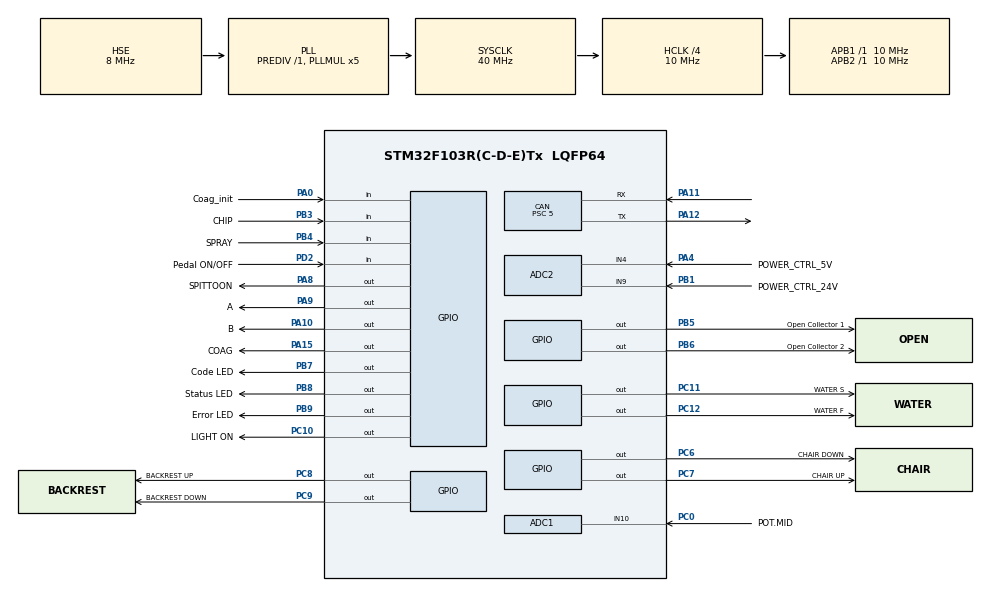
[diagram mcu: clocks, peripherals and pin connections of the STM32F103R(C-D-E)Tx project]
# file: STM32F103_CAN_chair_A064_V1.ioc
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ADC1.Channel-1\#ChannelRegularConversion=ADC_CHANNEL_10
ADC1.ContinuousConvMode=ENABLE
ADC1.NbrOfConversionFlag=1
ADC1.Rank-1\#ChannelRegularConversion=1
ADC1.SamplingTime-1\#ChannelRegularConversion=ADC_SAMPLETIME_1CYCLE_5
ADC1.master=1
ADC2.Channel-1\#ChannelRegularConversion=ADC_CHANNEL_4
ADC2.ContinuousConvMode=ENABLE
ADC2.NbrOfConversionFlag=1
ADC2.Rank-1\#ChannelRegularConversion=1
ADC2.SamplingTime-1\#ChannelRegularConversion=ADC_SAMPLETIME_1CYCLE_5
CAN.BS1=CAN_BS1_13TQ
CAN.BS2=CAN_BS2_2TQ
CAN.CalculateBaudRate=125000
CAN.CalculateTimeBit=8000
CAN.CalculateTimeQuantum=500.0
CAN.NART=ENABLE
CAN.Prescaler=5
Mcu.Family=STM32F1
Mcu.Name=STM32F103R(C-D-E)Tx
Mcu.Package=LQFP64
NVIC.PriorityGroup=NVIC_PRIORITYGROUP_4
NVIC.USB_HP_CAN1_TX_IRQn=true\:0\:0\:false\:false\:true\:true\:true\:true
NVIC.USB_LP_CAN1_RX0_IRQn=true\:0\:0\:false\:false\:true\:true\:true\:true
PA0-WKUP.GPIO_Label=Coag_init
PA0-WKUP.GPIO_PuPd=GPIO_PULLUP
PA0-WKUP.Signal=GPIO_Input
PA10.GPIO_Label=B
PA10.Signal=GPIO_Output
PA11.Mode=CAN_Activate
PA11.Signal=CAN_RX
PA12.Mode=CAN_Activate
PA12.Signal=CAN_TX
PA13.Mode=Serial_Wire
PA13.Signal=SYS_JTMS-SWDIO
PA14.Mode=Serial_Wire
PA14.Signal=SYS_JTCK-SWCLK
PA15.GPIO_Label=COAG
PA15.Signal=GPIO_Output
PA4.GPIO_Label=POWER_CTRL_5V
PA4.Signal=ADCx_IN4
PA8.GPIO_Label=SPITTOON
PA8.Signal=GPIO_Output
PA9.GPIO_Label=A
PA9.Signal=GPIO_Output
PB1.GPIO_Label=POWER_CTRL_24V
PB1.Signal=ADCx_IN9
PB3.GPIO_Label=CHIP
PB3.GPIO_PuPd=GPIO_PULLUP
PB3.Signal=GPIO_Input
PB4.GPIO_Label=SPRAY
PB4.GPIO_PuPd=GPIO_PULLUP
PB4.Signal=GPIO_Input
PB5.GPIO_Label=Open Collector 1
PB5.Signal=GPIO_Output
PB6.GPIO_Label=Open Collector 2
PB6.Signal=GPIO_Output
PB7.GPIO_Label=Code LED
PB7.Signal=GPIO_Output
PB8.GPIO_Label=Status LED
PB8.Signal=GPIO_Output
PB9.GPIO_Label=Error LED
PB9.Signal=GPIO_Output
PC0.GPIO_Label=POT.MID
PC0.Signal=ADCx_IN10
PC10.GPIO_Label=LIGHT ON
PC10.Signal=GPIO_Output
PC11.GPIO_Label=WATER S
PC11.Signal=GPIO_Output
PC12.GPIO_Label=WATER F
PC12.Signal=GPIO_Output
PC6.GPIO_Label=CHAIR DOWN
PC6.Signal=GPIO_Output
PC7.GPIO_Label=CHAIR UP
PC7.Signal=GPIO_Output
PC8.GPIO_Label=BACKREST UP
PC8.Signal=GPIO_Output
PC9.GPIO_Label=BACKREST DOWN
PC9.Signal=GPIO_Output
PD0-OSC_IN.Mode=HSE-External-Oscillator
PD0-OSC_IN.Signal=RCC_OSC_IN
PD1-OSC_OUT.Mode=HSE-External-Oscillator
PD1-OSC_OUT.Signal=RCC_OSC_OUT
PD2.GPIO_Label=Pedal ON/OFF
PD2.GPIO_PuPd=GPIO_PULLUP
PD2.Signal=GPIO_Input
ProjectManager.HeapSize=0x200
ProjectManager.StackSize=0x400
ProjectManager.TargetToolchain=MDK-ARM V5.27
RCC.AHBCLKDivider=RCC_SYSCLK_DIV4
RCC.AHBFreq_Value=10000000
RCC.APB1Freq_Value=10000000
RCC.APB1TimFreq_Value=10000000
RCC.APB2Freq_Value=10000000
RCC.APB2TimFreq_Value=10000000
RCC.HCLKFreq_Value=10000000
RCC.PLLMUL=RCC_PLL_MUL5
RCC.PLLSourceVirtual=RCC_PLLSOURCE_HSE
RCC.SYSCLKFreq_VALUE=40000000
RCC.SYSCLKSource=RCC_SYSCLKSOURCE_PLLCLK
RCC.USBFreq_Value=40000000
SH.ADCx_IN10.0=ADC1_IN10,IN10
SH.ADCx_IN4.0=ADC2_IN4,IN4
SH.ADCx_IN9.0=ADC2_IN9,IN9
board=custom

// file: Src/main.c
/* USER CODE BEGIN Header */
/**
  ******************************************************************************
  * @file           : STM32F103_CAN_chair_A027_V3_COAG.c
  * @brief          : Program for chair board and pedal Board AEGA 5.139.027/3
											with coagulator
  ******************************************************************************
 */
/* USER CODE END Header */
#include "main.h"

/* USER CODE BEGIN Includes */
#include "crc.h" // розрахунок контрольної суми
#include "io.h" // порти вводу / виводу
/* USER CODE END Includes */

ADC_HandleTypeDef hadc1;
ADC_HandleTypeDef hadc2;

CAN_HandleTypeDef hcan;

/* USER CODE BEGIN PV */
void decodeDataChairBuffRx (uint8_t *dataChairBuffRx);	// функція для обробки змінної data_chair - формування відповіді data_chair_answer
void SLIP_AddCrcToFrame( uint8_t *frame, uint16_t *size); // функція для розрахунку контрольної суми
void decodeDataPedalONOFF (uint8_t *dataPedalONOFF); // фунуція для обробки стану педалі з А025

CAN_TxHeaderTypeDef TxHeader; // вихідний буфер CAN_Tx
CAN_RxHeaderTypeDef RxHeader; // вхідний буфер CAN_Rx

uint8_t len = 0; // лічильний для прийнятих байтів
uint8_t CAN_status_OK = 0; // прапорець, який сигналізує про наявність даних по CAN
uint8_t CANRxDataChairNOT_OK = 0; // прапорець, який сигналізує про наявність даних по CAN

uint8_t dataChairBuffRx [255] = {0}; // буфер data_chair - буфер, який містить інформацію про поточний стан кнопок, які керують кріслом, LIGHT ON, WATER F та WATER S
uint8_t dataChairAnswerBuffTx [255] = {0}; // буфер data_chair_answer - підтвердження отримання буфера data_chair
uint8_t dataPedalBuffTx [255] = {0}; // буфер data_pedal - буфер, який містить інформацію про стан функцій педалі ADC, Pedal ON/OFF, CHIP, SPRAY
uint8_t dataResetBuffRx [255] = {0};
uint8_t dataBuffRx [255] = {0};
uint8_t dataSPRAYBuffTx [255] = {0};
uint8_t dataPedalONOFF [255] = {0}; // буфер для прийому даних по стану педалі з А025

uint32_t TxMailBox = 0; // Mailbox для відправки даних по CAN
uint8_t canRxBuffer [255] = {0}; // буфер для прийому даних по CAN
uint8_t canTxBuffer [255] = {0}; // буфер для передачі даних по CAN

uint16_t adcResult = 0; // дані, які отримано з АЦП 12-бітного
uint8_t dataResult = 0; // дані, які приведено до АЦП 8-бітного

uint8_t button_push_pedal = 0; // стан кнопки Pedal_ON/OFF / Педаль ВКЛ./ВиКЛ.
uint8_t button_push_CHIP = 0; // стан кнопки CHIP / ПРОДУВКА
uint8_t butto_push_SPRAY = 0; // стан кнопки SPRAY / СПРЕЙ

uint8_t button_push_pedal_sent = 0; // змінна, що відповідає за стан кнопки Pedal_ON/OFF / Педаль ВКЛ./ВиКЛ.
uint8_t button_push_CHIP_sent = 0; //змінна, що відповідає за стан кнопки CHIP / ПРОДУВКА
uint8_t button_push_SPRAY_sent = 0; // змінна, що відповідає за стан кнопки SPRAY / СПРЕЙ

uint8_t stateButtSPRAY = 1; // стан кнопки SPRAY / СПРЕЙ

uint8_t sent_data = 0; // стан натискання кнопок педалі

uint8_t len_pedal = 0; // лічильник для надсилання даних про стан всіх кнопок педалі
uint8_t len_chip_spray = 0; // лічильник для надсилання даних тільки про стан кнопок CHIP та SPRAY

uint8_t flag_rx_a025 = 0; // прапорець по педалі - прийом або передача
uint8_t pedal_on_off_a025 = 0; // стан натискання кнопки педалі на А025

uint32_t timeStatus = 0;
uint32_t tim_data_answer = 0;
/* USER CODE END PV */

void SystemClock_Config(void);
static void MX_GPIO_Init(void);
static void MX_ADC1_Init(void);
static void MX_ADC2_Init(void);
static void MX_CAN_Init(void);

/* USER CODE BEGIN 0 */
uint8_t data_chair_OK = 0; // прапорець, що сигналізує про те, що прийом / передача даних по CAN пройшли успішно
uint8_t data_chair_NOT_OK = 0; // прапорець, що сигналізує про перехід до стану, коли світлодіод мигає із фіксованою частотою - помилка по CAN

uint8_t stateChairDown = 0; // стан байта, що відповідає за стан кнопки CHAIR DOWN / КРІСЛО ВНиЗ
uint8_t stateChairUp = 0; // стан байта, що відповідає за стан кнопопки CHAIR UP / КРІСЛО ВВЕРХ
uint8_t stateBackrestUp = 0; // стан байта, що відповідає за стан кнопки BACKREST UP / СПиНКА ВВЕРХ
uint8_t stateBackrestDown = 0; // стан байта, що відповідає за стан кнопки BACKREST DOWN / СПиНКА ВНиЗ
uint8_t stateSpittoon = 0; // стан байта, що відповідає за стан кнопки SPITTOON / СПЛЬОВУВАННЯ
uint8_t stateA = 0; // стан байта, що відповідає за стан кнопки А
uint8_t stateB = 0; // стан байта, що відповідає за стан кнопки В
uint8_t stateLightOn; // стан байта, що відповідає за стан кнопки LIGHT ON / СВІТиЛЬНиК
uint8_t stateWaterF; // стан байта, що відповідає за стан кнопки WATER F / НАПОВНЕННЯ СКЛЯНКи
uint8_t stateWaterS; // стан байта, що відповідає за стан кнопки WATER S / ЗМиВ ПЛЮВАЛЬНи0ЦІ
uint8_t state_data_chair = 0; // прапорець, який використовується для переходу до формування буфера data_chair_answer

uint16_t dataChairRxCRC = 0; // отримана у data_chair контрольна сума CRC
uint16_t dataChairCalcCRC = 0; // розрахована для data_chair контрольна сума CRC

/*Стан натискання педалі отриманий з А025*/
void decodeDataPedalONOFF (uint8_t *dataPedalONOFF)
{
	if (dataPedalONOFF [0] != 0x00 && dataPedalONOFF [1] != 0x00 && dataPedalONOFF [7] != 0x00)
	{
		if (dataPedalONOFF [2] == 0x80)
		{
			pedal_on_off_a025 = 0;
		}
		else if (dataPedalONOFF [2] == 0x81)
		{
			pedal_on_off_a025 = 1;
		}
	}
}

void decodeDataBuffRx (uint8_t *dataBuffRx) // робота з прийнятим повідомленням data_reset
{
if (dataBuffRx [0] != 0x00 && dataBuffRx [1] != 0x00 && dataBuffRx [15] != 0x00)
{
		if (dataBuffRx [4] == 0x22)
		{
			butto_push_SPRAY = 1;
			button_push_SPRAY_sent = 0x2B;
		}
		else if (dataBuffRx [4] == 0x00)
		{
			butto_push_SPRAY = 0;
			button_push_SPRAY_sent = 0x2D;
		}
	}
}

/* Робота з повідомленням про поточний стан кнопок data*/
void decodeDataChairBuffRx (uint8_t *dataChairBuffRx) // робота з прийнятим повідомленням data_chair
{
	/* Контрольна сума отримана у буфері data_chair*/
	dataChairRxCRC = dataChairBuffRx [13];
	dataChairRxCRC = dataChairRxCRC << 8;
	dataChairRxCRC |= dataChairBuffRx [14];

	/*Розрахунок для data_chair контрольної суми - розрахунок проводиться для прийнятого буфера*/
	uint16_t lengDataBuffRx = 13; // довжина буфера корисних даних для розрахунку контрольної суми СRC
	SLIP_AddCrcToFrame (dataChairBuffRx, &lengDataBuffRx); // функція для розрахунку контрольної суми CRC

	dataChairCalcCRC = dataChairBuffRx [13];
	dataChairCalcCRC = dataChairCalcCRC << 8;
	dataChairCalcCRC |= dataChairBuffRx [14];

	if (dataChairCalcCRC == dataChairRxCRC) // умова виконується якщо контрольна сума CRC отримана та розрахована - співпала
	{
		CAN_status_OK = 1; // засвічується світлодіод, який сигналізує, що є передача даних по CAN
		data_chair_OK = 1; // засвічується світлодіод, який сигналізує про відправку буфера data_chair_answer та отримання буфера data_chair
		data_chair_NOT_OK = 0; // скидається прапорець, що сигналізує про помилку прийому / передачі по CAN
		/* Формування буфера data_chair_answer - ввідповідь на прийняте повідомлення data_chair*/
		dataChairAnswerBuffTx [0] = 0x16;
		dataChairAnswerBuffTx [1] = 0x06;
		dataChairAnswerBuffTx [2] = dataChairBuffRx [13]; // в посилці надсилати контрольну суму старший байт
		dataChairAnswerBuffTx [3] = dataChairBuffRx [14]; // в посилці надсилати контрольну суму молодший байт
		dataChairAnswerBuffTx [4] = 0xFF;

		stateChairDown = dataChairBuffRx [2]; // змінна, яка визначає стан кнопки CHAIR DOWN / КРІСЛО ВНиЗ
		stateChairUp = dataChairBuffRx [3]; // змінна, яка визначає стан кнопки CHAIR UP / КРІСЛО ВВЕРХ
		stateBackrestUp = dataChairBuffRx [4]; // змінна, яка визначає стан кнопки BACKREST UP / СПиНКА ВВЕРХ
		stateBackrestDown = dataChairBuffRx [5]; // змінна, яка визначає стан кнопки BACKREST DOWN / СПиНКА ВНиЗ
		stateSpittoon = dataChairBuffRx [6]; // змінна, яка визначає стан кнопки SPITTOON / СПЛЬОВУВАННЯ
		stateA = dataChairBuffRx [7]; // змінна, яка визначає стан кнопки A
		stateB = dataChairBuffRx [8]; // змінна, яка визначає стан кнопки В
		stateLightOn = dataChairBuffRx [9]; // змінна, яка визначає стан кнопки LIGHT ON / СВІТиЛЬНиК
		stateWaterF = dataChairBuffRx [10]; // змінна, яка визначає стан кнопки WATER F / НАПОВНЕННЯ СКЛЯНКи
		stateWaterS = dataChairBuffRx [11]; // змінна, яка визначає стан кнопки WATER S / ЗМиВ ПЛЮВАЛЬНиЦІ

		/*Формування стану виходів мікроконтролера для керування стоматологічним кріслом*/

		/*Стан кнопки CHAIR DOWN / КРІСЛО ВНиЗ*/
		if (stateChairDown == 0x10)
		{
			ChairDownSet (); // вихід мікроконтролера в 1
		}
		else if (stateChairDown == 0x11)
		{
			ChairDownReset (); // вихід мікроконтролера в 0
		}

		/*Стан кнопки CHAIR UP / КРІСЛО ВВЕРХ*/
		if (stateChairUp == 0x20)
		{
			ChairUpSet (); // вихід мікроконтролера в 1
		}
		else if (stateChairUp == 0x21)
		{
			ChairUpReset (); // вихід мікроконтролера в 0
		}

		/*Стан кнопки BACKREST UP / СПиНКА ВВЕРХ*/
		if (stateBackrestUp == 0x30)
		{
			BackrestUpSet (); // вихід мікроконтролера в 1
		}
		else if (stateBackrestUp == 0x31)
		{
			BackrestUpReset (); // вихід мікроконтролера в 0
		}

		/*Стан кнопки BACKREST DOWN / СПиНКА ВНиЗ*/
		if (stateBackrestDown == 0x40)
		{
			BackrestDownSet (); // вихід мікроконтролера в 1
		}
		else if (stateBackrestDown == 0x41)
		{
			BackrestDownReset (); // вихід мікроконтролера в 0
		}

		/*Стан кнопки SPITTOON / СПЛЬОВУВАННЯ*/
		if (stateSpittoon == 0x50)
		{
			SpittoonSet (); // вихід мікроконтролера в 1
		}
		else if (stateSpittoon == 0x51)
		{
			SpittoonReset (); // вихід мікроконтролера в 0
		}

//		/*Стан кнопки A*/
//		if (stateA == 0x60)
//		{
//			ASet (); // вихід мікроконтролера в 1
//		}
//		else if (stateA == 0x61)
//		{
//			AReset (); // вихід мікроконтролера в 0
//		}

//		/*Стан кнопки B*/
//		if (stateB == 0x70)
//		{
//			BSet (); // вихід мікроконтролера в 1
//		}
//		else if (stateB == 0x71)
//		{
//			BReset (); // вихід мікроконтролера в 0
//		}

		/* Формування стану виходів мікроконтролера для керування станом кнопок LIGHT ON, WATER F та WATER S для контролеру гідроблоку А120М*/

		/*Стан кнопки LIGHT ON / СВІТиЛЬНиК*/
		if (stateLightOn == 0x81)
		{
			LightONSet (); // вихід мікроконтролера в 1
		}
		else if (stateLightOn == 0x84)
		{
			LightONReset (); // вихід мікроконтролера в 0
		}

		/*Стан кнопки WATER F / НАПОВНЕННЯ СКЛЯНКи*/
		if (stateWaterF == 0x82)
		{
			WaterFSet (); // вихід мікроконтролера в 1
		}
		else if (stateWaterF == 0x85)
		{
			WaterFReset (); // вихід мікроконтролера в 0
		}

		/*Стан кнопки WATER S / ЗМиВ ПЛЮВАЛЬНиЦІ*/
		if (stateWaterS == 0x83)
		{
			WaterSSet (); // вихід мікроконтролера в 1
		}
		else if (stateWaterS == 0x86)
		{
			WaterSReset (); // вихід мікроконтролера в 0
		}
  }
  else if (dataChairCalcCRC != dataChairRxCRC || dataChairRxCRC == 0x00) // виконується якщо виникли проблеми на лінії - частина даних втрачена
	{
		dataChairAnswerBuffTx [0] = 0x16;
		dataChairAnswerBuffTx [1] = 0x06;
		dataChairAnswerBuffTx [2] = 0x00; // в посилці надсилати 0x00
		dataChairAnswerBuffTx [3] = 0x00; // в посилці надсилати 0x00
		dataChairAnswerBuffTx [4] = 0xFF;
		data_chair_NOT_OK = 1; // перехід до стану, коли світлодіод мигає із фіксованою частотою
		CAN_status_OK = 0; // світлодіод, що сигналізує про передачу даних по CAN - мигає із фіксованою частотою
	}
}
/* USER CODE END 0 */

int main(void)
{

  /* MCU Configuration--------------------------------------------------------*/

  /* Reset of all peripherals, Initializes the Flash interface and the Systick. */
  HAL_Init();

  /* Configure the system clock */
  SystemClock_Config();

  /* Initialize all configured peripherals */
  MX_GPIO_Init();
  MX_ADC1_Init();
  MX_ADC2_Init();
  MX_CAN_Init();
  /* USER CODE BEGIN 2 */
	uint32_t timCanRxDataChairNOTOK = 0; // таймер, який призначений для індикації помилки по CAN
	uint32_t tim_data_chair_ok = 0; // таймер, який використовується для відліку часу роботи із світлодіодом
	uint32_t time_error_LED = 0; // таймер, який використовується для мигання свтлодіодом при помилці по CAN - в буфері data_chair_answer crc заповнено 0
	uint32_t tim_data_chair_answer = 0; // таймер, який використовується для відліку часу по передачі буфера data_chair_answer
	uint32_t tim_CAN_NOT_OK = 0; // таймер, який використовується для відліку часу на прийом першої посилки data_chair
	uint32_t tim_CAN_error = 0; //таймер для відліку 3с на початку роботи системи
	uint32_t timeRemove = 0; // відлік часу для обнулення вхідного буфера по CAN
	uint32_t time_button = 0;// таймер для опитування кнопок
	uint32_t time_pedal_on = 0; // таймер для перезаписування буфера про стан кнопки

 // Ініціалізація CAN
 HAL_CAN_Init (&hcan);

 	// Фільтр по прийому Rx для CAN
 CAN_FilterTypeDef canFilterConfig;
 canFilterConfig.FilterMode = CAN_FILTERMODE_IDMASK;
 canFilterConfig.FilterScale = CAN_FILTERSCALE_32BIT;
 canFilterConfig.FilterIdHigh = 0x0000;
 canFilterConfig.FilterIdLow = 0x0000;
 canFilterConfig.FilterMaskIdHigh = 0x0000<<5;
 canFilterConfig.FilterMaskIdLow = 0x0000;
 canFilterConfig.FilterFIFOAssignment = CAN_FILTER_FIFO0;
 canFilterConfig.FilterActivation = ENABLE;
 canFilterConfig.FilterBank = 1;
 HAL_CAN_ConfigFilter (&hcan, &canFilterConfig);
 HAL_CAN_Start (&hcan);

 // Rx вхідний буфер
 RxHeader.StdId = 0x00;
 RxHeader.RTR = CAN_RTR_DATA;
 RxHeader.IDE = CAN_ID_STD;
 RxHeader.DLC = 8;
 HAL_Delay(10);

  /* USER CODE END 2 */

  /* Infinite loop */
  /* USER CODE BEGIN WHILE */
  while (1)
  {
		// Створення віддаленого репозиторію 21.01.2025
			/* Прийом даних data_chair*/
		HAL_CAN_GetRxMessage (&hcan, CAN_RX_FIFO0, &RxHeader, canRxBuffer);
	  if (RxHeader.StdId == 0x51) // прийом буфера data_chair - 1 частина посилки
	  {
	    for (len=0; len<8; len++)
			dataChairBuffRx [len] = canRxBuffer [len];  // перезапис даних із mailbox у буфер dataChairBuffRx (1 частина посилки), якщо це посилка з потрібним Id
	  }
	  else if (RxHeader.StdId == 0x52) // прийом буфера data_chair - 2 частина посилки
	  {
	    for (len=0; len<8; len++)
	    dataChairBuffRx [len+8] = canRxBuffer [len]; // перезапис даних із mailbox у буфер dataChairBuffRx (2 частина посилки), якщо це посилка з потрібним Id
			state_data_chair = 1; // прапорець, який використовується для переходу до формування буфера data_chair_answer
			decodeDataChairBuffRx (dataChairBuffRx);	// зверненння до функції обробки буфера data_chair
    }
		if (RxHeader.StdId == 0x81) // прийом буфера data_pedal_on_off
		{
	    for (len=0; len<8; len++)
			dataPedalONOFF [len] = canRxBuffer [len];  // перезапис даних із mailbox у буфер data_pedal_on_off, якщо це посилка з потрібним Id
			flag_rx_a025 = 1;
		}

if (HAL_GetTick () - tim_CAN_NOT_OK >= 100) // таймер, який відраховує 3с від ввімкнення живлення, якщо немає прийому даних data_chair
{
	tim_CAN_NOT_OK = HAL_GetTick (); // для відліку часу використано системний таймер
	if (state_data_chair == 0) // посилка data_chair не отримана - помилка з'єднання
	{
		tim_CAN_error ++;  // початук відліку часу для оцінки роботи CAN
		if (tim_CAN_error >= 30) // відраховуємо 3с
		{
			data_chair_NOT_OK = 1; // помилка при прийомі даних
		}
	}
  if (state_data_chair == 1) // посилка data_chair отримана
  {
		tim_CAN_error = 0; // обнулення таймера, який відраховує 3с
	}
}

if (HAL_GetTick () - tim_data_chair_ok >= 100) // обновлення стану світлодіодів відбувається кожні 100мс
{
	tim_data_chair_ok = HAL_GetTick(); // для відліку часу використано системний таймер
	timeRemove++;

	if (data_chair_OK == 1 && state_data_chair == 1) // якщо отримано буфер data_chair та/або відправлено змінну data_chair_answer
	{
		ErrorLEDReset (); // ввімкнення світлодіода Error - вимкнено - є передача даних по CAN
	}

	if (data_chair_NOT_OK == 1) // втрата даних / помилка на лінії CAN - в буфері data_chair_answer crc заповнено 0
	{
		timCanRxDataChairNOTOK++;
		if (timCanRxDataChairNOTOK >= 30)
		{
		data_chair_OK = 0;
		time_error_LED ++; // запускаємо таймер, який починає відлік часу, який відведено на прийом / передачу даних
		if (time_error_LED  < 5) // частота мигання світлодіода - 500мс
		{
			ErrorLEDSet (); // ввімкнення світлодіода, що сигналізує про роботу CAN
  	}
		else if (time_error_LED < 10) // частота мигання світлодіода - 500мс
		{
			ErrorLEDReset (); // вимиканення світлодіода, що сигналізує про роботу CAN
		}
		else
		{
			time_error_LED = 0; // після одного циклу мигання обнулення таймера для відліку часу
		}
	 }
	}

	if (CAN_status_OK == 1)
	{
		StatusLEDSet (); // світлодіод Status LED ввімкнуто
	}
	else if (CAN_status_OK == 0)
	{
		timeStatus++;
		if (timeStatus == 5)
		{
			StatusLEDReset (); // світлодіод Status LED вимкнуто
		}
	}
}

if (HAL_GetTick () - time_button >= 50)
{
	time_button = HAL_GetTick ();

	//Прийом даних з АЦП / ADC1
	HAL_ADC_Start (&hadc1); // старт АЦП
	HAL_ADC_PollForConversion (&hadc1, 100); // АЦП запускає перетворення даних кожні 100мс
	adcResult = HAL_ADC_GetValue (&hadc1); // дані, які отримано з АЦП 12-бітного
	dataResult = adcResult >> 4;  // дані, які приведено до АЦП 8-бітного
	HAL_ADC_Stop (&hadc1);	// зупинка АЦП

	if (flag_rx_a025 == 1) // обробка стану педалі по прийому даних з А025
	{
		if (dataPedalONOFF [2] == 0x80)
		{
			CoagReset ();
		}
		else if (dataPedalONOFF [2] == 0x81)
		{
			CoagSet ();
		}
	}

  if (flag_rx_a025 == 0) // обробка стану педалі по обробці даних з CAN контролера крісла
	{
	//Стан кнопок для керування роботою багатофункційної педалі - Pedal_ON/OFF, CHIP та SPRAY
	if (readButtonPedalONOFF () == 1) // стан кнопки Pedal_ON/OFF / Педаль_ВКЛ./ВиКЛ.
	{
		button_push_pedal = 1;
	}
	else
	{
		button_push_pedal = 0;
	}

	if (button_push_pedal == 0)
		{
			button_push_pedal_sent = 0x73; // функція Pedal_ON/OFF / Педаль_ВКЛ./ВиКЛ. - вимкнута OFF
			CoagReset ();
		}
	else if (button_push_pedal == 1)
		{
		if (HAL_GetTick () - time_pedal_on >= 50)
		{
			time_pedal_on = HAL_GetTick ();
			button_push_pedal_sent = 0x71; // функція Pedal_ON/OFF / Педаль_ВКЛ./ВиКЛ. - ввімкнута ON
			CoagSet ();
		}
		}
	}

	if (readButtonCHIP () == 1) // стан кнопки CHIP / ПРОДУВКА
	{
		button_push_CHIP = 1;
	}
	else
	{
		button_push_CHIP = 0;
	}
	if (button_push_CHIP == 0)
	{
		button_push_CHIP_sent = 0x74; // функція CHIP / ПРОДУВКА - вимкнута OFF
	}
	else if (button_push_CHIP == 1)
	{
		button_push_CHIP_sent = 0x72; // функція Pedal_ON/OFF / Педаль_ВКЛ./ВиКЛ. - ввімкнута ON
	}

	if (readButtonSPRAY () == 1) // стан кнопки SPRAY / СПРЕЙ
	{
		if (stateButtSPRAY == 0)
		{
			if (butto_push_SPRAY < 1)
			{
				butto_push_SPRAY ++;
			}
			else if (butto_push_SPRAY > 0)
			{
				butto_push_SPRAY --;
			}
		}
		stateButtSPRAY = 1;
	}
	else
	{
		stateButtSPRAY = 0;
	}

	if (butto_push_SPRAY == 0)
	{
		button_push_SPRAY_sent = 0x2D; // функція SPRAY / СПРЕЙ вимкнута OFF
	}
	else if (butto_push_SPRAY == 1)
	{
		button_push_SPRAY_sent = 0x2B; // функція SPRAY / СПРЕЙ ввімкнута ON
	}

	if (button_push_pedal_sent == 0x71)
	{
		// Формування буфера data_pedal - стан педалі
		dataPedalBuffTx [0] = 0x16;
		dataPedalBuffTx [1] = 0x07;
		dataPedalBuffTx [2] = 0x71;
		dataPedalBuffTx [3] = dataResult;
		dataPedalBuffTx [4] = button_push_CHIP_sent;
		dataPedalBuffTx [5] = 0x00;
		dataPedalBuffTx [6] = 0x00;
		dataPedalBuffTx [7] = 0xFF;
		}
	else if (button_push_pedal_sent == 0x73)
	{
		// Формування буфера data_pedal - стан педалі
		dataPedalBuffTx [0] = 0x16;
		dataPedalBuffTx [1] = 0x07;
		dataPedalBuffTx [2] = 0x73;
		dataPedalBuffTx [3] = 0x00;
		dataPedalBuffTx [4] = button_push_CHIP_sent;
		dataPedalBuffTx [5] = 0x00;
		dataPedalBuffTx [6] = 0x00;
		dataPedalBuffTx [7] = 0xFF;
	}
}

	if (HAL_GetTick () - tim_data_chair_answer >= 100) // передача даних кожні 100мс
	{
		tim_data_chair_answer = HAL_GetTick (); // для розрахунку часу використано системний таймер

	if (button_push_pedal_sent == 0x71 && flag_rx_a025 != 1)
	{
			len_pedal = 3;
			for (len_pedal = 3; len_pedal > 0; len_pedal --)
			{
			// Передача буфера data_pedal
			TxHeader.StdId = 0x71;
			TxHeader.RTR = CAN_RTR_DATA;
			TxHeader.IDE = CAN_ID_STD;
			TxHeader.DLC = 8;
			TxHeader.ExtId = 0;

			canTxBuffer[0] = dataPedalBuffTx [0];
			canTxBuffer[1] = dataPedalBuffTx [1];
			canTxBuffer[2] = dataPedalBuffTx [2];
			canTxBuffer[3] = dataPedalBuffTx [3];
			canTxBuffer[4] = dataPedalBuffTx [4];
			canTxBuffer[5] = dataPedalBuffTx [5];
			canTxBuffer[6] = dataPedalBuffTx [6];
			canTxBuffer[7] = dataPedalBuffTx [7];

			HAL_CAN_AddTxMessage (&hcan, &TxHeader, canTxBuffer, &TxMailBox);
			HAL_Delay (10);
		}
	}

	if (button_push_pedal_sent == 0x73 && flag_rx_a025 != 1)
	{
			len_pedal = 3;
			for (len_pedal = 3; len_pedal > 0; len_pedal --)
			{
			// Передача буфера data_pedal
			TxHeader.StdId = 0x71;
			TxHeader.RTR = CAN_RTR_DATA;
			TxHeader.IDE = CAN_ID_STD;
			TxHeader.DLC = 8;
			TxHeader.ExtId = 0;

			canTxBuffer[0] = dataPedalBuffTx [0];
			canTxBuffer[1] = dataPedalBuffTx [1];
			canTxBuffer[2] = dataPedalBuffTx [2];
			canTxBuffer[3] = dataPedalBuffTx [3];
			canTxBuffer[4] = dataPedalBuffTx [4];
			canTxBuffer[5] = dataPedalBuffTx [5];
			canTxBuffer[6] = dataPedalBuffTx [6];
			canTxBuffer[7] = dataPedalBuffTx [7];

			HAL_CAN_AddTxMessage (&hcan, &TxHeader, canTxBuffer, &TxMailBox);
			HAL_Delay (10);
		}
	}
}

	if (HAL_GetTick () - tim_data_answer >= 100) // передача даних кожні 100мс
	{
		tim_data_answer = HAL_GetTick (); // для розрахунку часу використано системний таймер

		if (state_data_chair == 1)
		{
			// Передача буфера data_chair_answer
			TxHeader.StdId = 0x61;
			TxHeader.RTR = CAN_RTR_DATA;
			TxHeader.IDE = CAN_ID_STD;
			TxHeader.DLC = 8;
			TxHeader.ExtId = 0;

			canTxBuffer[0] = dataChairAnswerBuffTx [0];
			canTxBuffer[1] = dataChairAnswerBuffTx [1];
			canTxBuffer[2] = dataChairAnswerBuffTx [2];
			canTxBuffer[3] = dataChairAnswerBuffTx [3];
			canTxBuffer[4] = dataChairAnswerBuffTx [4];
			canTxBuffer[5] = 0x00;
			canTxBuffer[6] = 0x00;
			canTxBuffer[7] = 0x00;

			HAL_CAN_AddTxMessage (&hcan, &TxHeader, canTxBuffer, &TxMailBox);
			HAL_Delay (10);
		}

			TxHeader.StdId = 0x99;
			TxHeader.RTR = CAN_RTR_DATA;
			TxHeader.IDE = CAN_ID_STD;
			TxHeader.DLC = 8;
			TxHeader.ExtId = 0;

			canTxBuffer[0] = 0x16;
			canTxBuffer[1] = 0x99;
			canTxBuffer[2] = button_push_SPRAY_sent;
			canTxBuffer[3] = 0x00;
			canTxBuffer[4] = 0x00;
			canTxBuffer[5] = 0x00;
			canTxBuffer[6] = 0x00;
			canTxBuffer[7] = 0xFF;

			HAL_CAN_AddTxMessage (&hcan, &TxHeader, canTxBuffer, &TxMailBox);
			HAL_Delay (10);
    /* USER CODE END WHILE */

		}
	}
}

void SystemClock_Config(void)
{
  RCC_OscInitTypeDef RCC_OscInitStruct = {0};
  RCC_ClkInitTypeDef RCC_ClkInitStruct = {0};
  RCC_PeriphCLKInitTypeDef PeriphClkInit = {0};

  /** Initializes the RCC Oscillators according to the specified parameters
  * in the RCC_OscInitTypeDef structure.
  */
  RCC_OscInitStruct.OscillatorType = RCC_OSCILLATORTYPE_HSE;
  RCC_OscInitStruct.HSEState = RCC_HSE_ON;
  RCC_OscInitStruct.HSEPredivValue = RCC_HSE_PREDIV_DIV1;
  RCC_OscInitStruct.HSIState = RCC_HSI_ON;
  RCC_OscInitStruct.PLL.PLLState = RCC_PLL_ON;
  RCC_OscInitStruct.PLL.PLLSource = RCC_PLLSOURCE_HSE;
  RCC_OscInitStruct.PLL.PLLMUL = RCC_PLL_MUL5;
  if (HAL_RCC_OscConfig(&RCC_OscInitStruct) != HAL_OK)
  {
    Error_Handler();
  }

  /** Initializes the CPU, AHB and APB buses clocks
  */
  RCC_ClkInitStruct.ClockType = RCC_CLOCKTYPE_HCLK|RCC_CLOCKTYPE_SYSCLK
                              |RCC_CLOCKTYPE_PCLK1|RCC_CLOCKTYPE_PCLK2;
  RCC_ClkInitStruct.SYSCLKSource = RCC_SYSCLKSOURCE_PLLCLK;
  RCC_ClkInitStruct.AHBCLKDivider = RCC_SYSCLK_DIV4;
  RCC_ClkInitStruct.APB1CLKDivider = RCC_HCLK_DIV1;
  RCC_ClkInitStruct.APB2CLKDivider = RCC_HCLK_DIV1;

  if (HAL_RCC_ClockConfig(&RCC_ClkInitStruct, FLASH_LATENCY_1) != HAL_OK)
  {
    Error_Handler();
  }
  PeriphClkInit.PeriphClockSelection = RCC_PERIPHCLK_ADC;
  PeriphClkInit.AdcClockSelection = RCC_ADCPCLK2_DIV2;
  if (HAL_RCCEx_PeriphCLKConfig(&PeriphClkInit) != HAL_OK)
  {
    Error_Handler();
  }
}

static void MX_ADC1_Init(void)
{

  ADC_ChannelConfTypeDef sConfig = {0};

  /** Common config
  */
  hadc1.Instance = ADC1;
  hadc1.Init.ScanConvMode = ADC_SCAN_DISABLE;
  hadc1.Init.ContinuousConvMode = ENABLE;
  hadc1.Init.DiscontinuousConvMode = DISABLE;
  hadc1.Init.ExternalTrigConv = ADC_SOFTWARE_START;
  hadc1.Init.DataAlign = ADC_DATAALIGN_RIGHT;
  hadc1.Init.NbrOfConversion = 1;
  if (HAL_ADC_Init(&hadc1) != HAL_OK)
  {
    Error_Handler();
  }

  /** Configure Regular Channel
  */
  sConfig.Channel = ADC_CHANNEL_10;
  sConfig.Rank = ADC_REGULAR_RANK_1;
  sConfig.SamplingTime = ADC_SAMPLETIME_1CYCLE_5;
  if (HAL_ADC_ConfigChannel(&hadc1, &sConfig) != HAL_OK)
  {
    Error_Handler();
  }

}

static void MX_ADC2_Init(void)
{

  ADC_ChannelConfTypeDef sConfig = {0};

  /** Common config
  */
  hadc2.Instance = ADC2;
  hadc2.Init.ScanConvMode = ADC_SCAN_DISABLE;
  hadc2.Init.ContinuousConvMode = ENABLE;
  hadc2.Init.DiscontinuousConvMode = DISABLE;
  hadc2.Init.ExternalTrigConv = ADC_SOFTWARE_START;
  hadc2.Init.DataAlign = ADC_DATAALIGN_RIGHT;
  hadc2.Init.NbrOfConversion = 1;
  if (HAL_ADC_Init(&hadc2) != HAL_OK)
  {
    Error_Handler();
  }

  /** Configure Regular Channel
  */
  sConfig.Channel = ADC_CHANNEL_4;
  sConfig.Rank = ADC_REGULAR_RANK_1;
  sConfig.SamplingTime = ADC_SAMPLETIME_1CYCLE_5;
  if (HAL_ADC_ConfigChannel(&hadc2, &sConfig) != HAL_OK)
  {
    Error_Handler();
  }

}

static void MX_CAN_Init(void)
{

  hcan.Instance = CAN1;
  hcan.Init.Prescaler = 5;
  hcan.Init.Mode = CAN_MODE_NORMAL;
  hcan.Init.SyncJumpWidth = CAN_SJW_1TQ;
  hcan.Init.TimeSeg1 = CAN_BS1_13TQ;
  hcan.Init.TimeSeg2 = CAN_BS2_2TQ;
  hcan.Init.TimeTriggeredMode = DISABLE;
  hcan.Init.AutoBusOff = DISABLE;
  hcan.Init.AutoWakeUp = DISABLE;
  hcan.Init.AutoRetransmission = ENABLE;
  hcan.Init.ReceiveFifoLocked = DISABLE;
  hcan.Init.TransmitFifoPriority = DISABLE;
  if (HAL_CAN_Init(&hcan) != HAL_OK)
  {
    Error_Handler();
  }

}

static void MX_GPIO_Init(void)
{
  GPIO_InitTypeDef GPIO_InitStruct = {0};

  /* GPIO Ports Clock Enable */
  __HAL_RCC_GPIOD_CLK_ENABLE();
  __HAL_RCC_GPIOC_CLK_ENABLE();
  __HAL_RCC_GPIOA_CLK_ENABLE();
  __HAL_RCC_GPIOB_CLK_ENABLE();

  /*Configure GPIO pin Output Level */
  HAL_GPIO_WritePin(GPIOC, CHAIR_DOWN_Pin|CHAIR_UP_Pin|BACKREST_UP_Pin|BACKREST_DOWN_Pin
                          |LIGHT_ON_Pin|WATER_S_Pin|WATER_F_Pin, GPIO_PIN_RESET);

  /*Configure GPIO pin Output Level */
  HAL_GPIO_WritePin(GPIOA, SPITTOON_Pin|A_Pin|B_Pin|COAG_Pin, GPIO_PIN_RESET);

  /*Configure GPIO pin Output Level */
  HAL_GPIO_WritePin(GPIOB, Open_Collector_1_Pin|Open_Collector_2_Pin|Code_LED_Pin|Status_LED_Pin
                          |Error_LED_Pin, GPIO_PIN_RESET);

  /*Configure GPIO pin : Coag_init_Pin */
  GPIO_InitStruct.Pin = Coag_init_Pin;
  GPIO_InitStruct.Mode = GPIO_MODE_INPUT;
  GPIO_InitStruct.Pull = GPIO_PULLUP;
  HAL_GPIO_Init(Coag_init_GPIO_Port, &GPIO_InitStruct);

  /*Configure GPIO pins : CHAIR_DOWN_Pin CHAIR_UP_Pin BACKREST_UP_Pin BACKREST_DOWN_Pin
                           LIGHT_ON_Pin WATER_S_Pin WATER_F_Pin */
  GPIO_InitStruct.Pin = CHAIR_DOWN_Pin|CHAIR_UP_Pin|BACKREST_UP_Pin|BACKREST_DOWN_Pin
                          |LIGHT_ON_Pin|WATER_S_Pin|WATER_F_Pin;
  GPIO_InitStruct.Mode = GPIO_MODE_OUTPUT_PP;
  GPIO_InitStruct.Pull = GPIO_NOPULL;
  GPIO_InitStruct.Speed = GPIO_SPEED_FREQ_LOW;
  HAL_GPIO_Init(GPIOC, &GPIO_InitStruct);

  /*Configure GPIO pins : SPITTOON_Pin A_Pin B_Pin COAG_Pin */
  GPIO_InitStruct.Pin = SPITTOON_Pin|A_Pin|B_Pin|COAG_Pin;
  GPIO_InitStruct.Mode = GPIO_MODE_OUTPUT_PP;
  GPIO_InitStruct.Pull = GPIO_NOPULL;
  GPIO_InitStruct.Speed = GPIO_SPEED_FREQ_LOW;
  HAL_GPIO_Init(GPIOA, &GPIO_InitStruct);

  /*Configure GPIO pin : Pedal_ON_OFF_Pin */
  GPIO_InitStruct.Pin = Pedal_ON_OFF_Pin;
  GPIO_InitStruct.Mode = GPIO_MODE_INPUT;
  GPIO_InitStruct.Pull = GPIO_PULLUP;
  HAL_GPIO_Init(Pedal_ON_OFF_GPIO_Port, &GPIO_InitStruct);

  /*Configure GPIO pins : CHIP_Pin SPRAY_Pin */
  GPIO_InitStruct.Pin = CHIP_Pin|SPRAY_Pin;
  GPIO_InitStruct.Mode = GPIO_MODE_INPUT;
  GPIO_InitStruct.Pull = GPIO_PULLUP;
  HAL_GPIO_Init(GPIOB, &GPIO_InitStruct);

  /*Configure GPIO pins : Open_Collector_1_Pin Open_Collector_2_Pin Code_LED_Pin Status_LED_Pin
                           Error_LED_Pin */
  GPIO_InitStruct.Pin = Open_Collector_1_Pin|Open_Collector_2_Pin|Code_LED_Pin|Status_LED_Pin
                          |Error_LED_Pin;
  GPIO_InitStruct.Mode = GPIO_MODE_OUTPUT_PP;
  GPIO_InitStruct.Pull = GPIO_NOPULL;
  GPIO_InitStruct.Speed = GPIO_SPEED_FREQ_LOW;
  HAL_GPIO_Init(GPIOB, &GPIO_InitStruct);

}

void Error_Handler(void)
{
}
